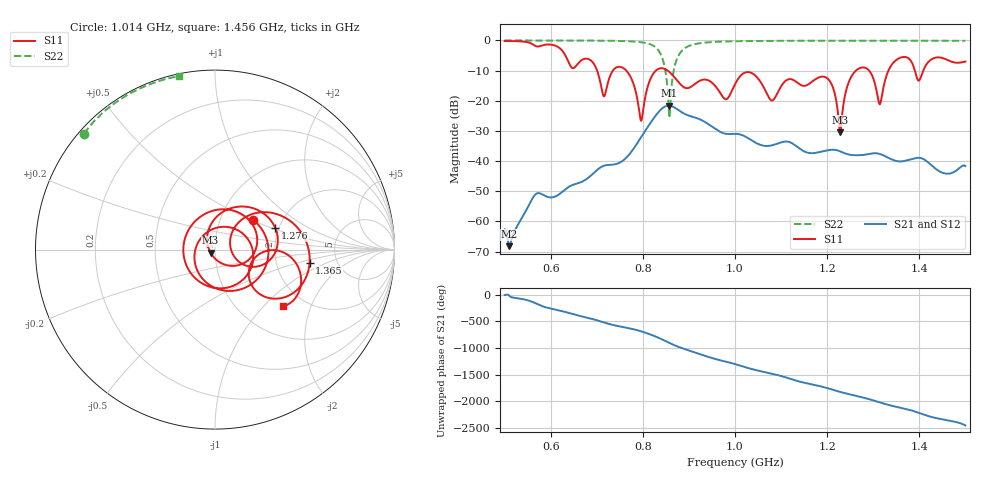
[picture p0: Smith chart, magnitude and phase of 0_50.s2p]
! TOUCHSTONE file generated by CST MICROWAVE STUDIO
! Date and time: Sat Oct 24 10:49:46 2020
! Project name: Scenario_1_Planar_Body_Tissue_Center.cst
! Parameters = {hfat=3; hmuscle=50; hskin=1.5; hgap=25; Wtissue=700; Ltissue=700; L_HA=400; MT=2.54; Rad_Dielectric=30; Rad_Lower=7.3; Rad_Upper=30; a_HA=580; a_WG=246; b_HA=500; b_WG=121; c_HA=0; c_WG=187; d_feed=85; dx1=1021.68; h_feed=15; h_lower=18; h_upper=40}
! Header version: 2018
! Port assignment regex: !\s*Touchstone port\s*([0-9]+)\s*=\s*(CST MWS port|CST DS port)\s*([0-9]+|Zmin|Zmax)\s*\(\"(.*)\"\)(\s*mode\s*([0-9]+))?.*
! Touchstone port assignment:
! Touchstone port 1 = CST MWS port 1 ("")
! Touchstone port 2 = CST MWS port 2 ("")
# GHz S DB R 50
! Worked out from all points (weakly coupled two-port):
!   1003 points, 500 MHz to 1.5 GHz, reference 50 ohm
!   highest |S21| = -21.58 dB at 856 MHz (marker M1); lowest = -68.2 dB at 510 MHz (marker M2)
!   lowest |S11| = -30.4 dB at 1.228 GHz (marker M3), VSWR 1.06, Z = 47.5 - j1.59 ohm
!   |S11| at or under -10 dB: 764 MHz to 828.4 MHz (64.32 MHz wide, 8.08 % of centre); 853.8 MHz to 1.262 GHz (408.7 MHz wide, 38.6 % of centre); 1.291 GHz to 1.333 GHz (41.91 MHz wide, 3.19 % of centre)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
!   |S22| runs from -25.7 to 0.0 dB; largest |S21 - S12| = 2.4e-05
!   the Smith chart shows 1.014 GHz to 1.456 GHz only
!   S11 on the Smith chart (normalised r, x): 1.014 GHz: 1.42, +0.51; 1.276 GHz: 1.92, +0.52; 1.365 GHz: 3.13, -0.63; 1.456 GHz: 1.56, -1.30
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0.5  -0.18 -121.6  -62.63 -6.3  -62.63 -6.3  -0.01 151.1
0.51  -0.20 -126.0  -68.20 -19.8  -68.06 -19.3  -0.01 150.5
0.567  -1.83 -157.2  -51.04 -160.0  -51.04 -160.0  -0.01 146.6
0.667  -6.53 158.5  -46.90 -46.1  -46.90 -46.1  -0.04 138.4
0.716  -18.54 -41.6  -41.52 -161.5  -41.52 -161.5  -0.09 132.8
0.762  -9.69 118.5  -39.18 104.9  -39.18 104.9  -0.22 125.0
0.796  -26.65 -46.8  -32.12 33.8  -32.12 33.8  -0.58 114.5
0.834  -9.42 108.1  -23.75 -88.0  -23.75 -88.0  -3.34 83.2
0.856  -10.25 28.7  -21.58 -178.3  -21.58 -178.3  -22.18 5.5
0.896  -15.82 -146.0  -24.71 45.3  -24.71 45.3  -2.11 171.2
1  -14.52 92.6  -30.95 138.8  -30.95 138.8  -0.27 140.2
1.014  -11.43 38.6  -31.30 101.7  -31.30 101.7  -0.23 138.4
1.128  -13.22 -81.5  -34.49 -162.0  -34.49 -162.0  -0.11 127.3
1.167  -13.70 105.8  -37.39 118.5  -37.39 118.5  -0.10 124.2
1.205  -13.31 -6.5  -36.32 36.0  -36.32 35.9  -0.09 121.3
1.228  -30.45 -146.2  -36.76 -23.1  -36.76 -23.1  -0.08 119.5
1.276  -8.95 19.5  -37.98 -126.0  -37.98 -126.0  -0.09 115.9
1.314  -21.18 8.9  -37.62 139.4  -37.62 139.4  -0.08 113.1
1.334  -9.66 39.2  -39.00 89.9  -39.00 89.9  -0.09 111.5
1.365  -5.48 -7.8  -40.03 25.9  -40.02 25.9  -0.09 109.2
1.456  -6.15 -39.8  -44.11 171.2  -44.11 171.2  -0.11 101.8
1.5  -7.00 -39.7  -41.64 66.4  -41.64 66.4  -0.13 98.0
